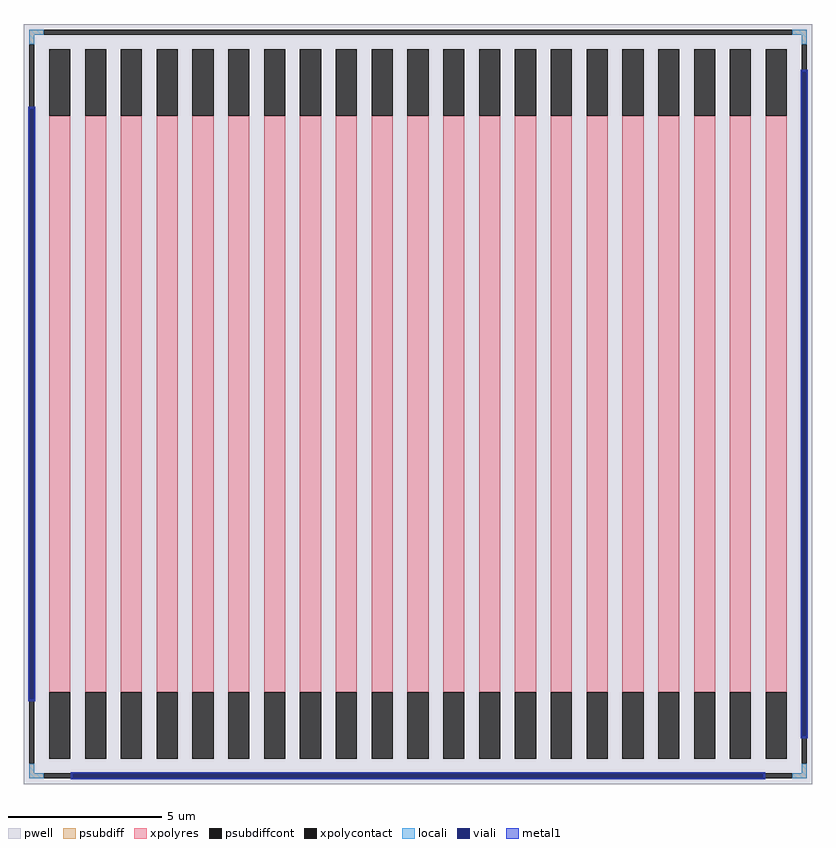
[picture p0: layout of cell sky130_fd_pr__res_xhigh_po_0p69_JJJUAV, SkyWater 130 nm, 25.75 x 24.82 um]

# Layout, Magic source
magic
tech sky130A
magscale 1 2
<< pwell >>
rect -2575 -2482 2575 2482
<< psubdiff >>
rect -2539 2412 -2443 2446
rect 2443 2412 2539 2446
rect -2539 2350 -2505 2412
rect 2505 2350 2539 2412
rect -2539 -2412 -2505 -2350
rect 2505 -2412 2539 -2350
rect -2539 -2446 -2443 -2412
rect 2443 -2446 2539 -2412
<< psubdiffcont >>
rect -2443 2412 2443 2446
rect -2539 -2350 -2505 2350
rect 2505 -2350 2539 2350
rect -2443 -2446 2443 -2412
<< xpolycontact >>
rect -2409 1884 -2271 2316
rect -2409 -2316 -2271 -1884
rect -2175 1884 -2037 2316
rect -2175 -2316 -2037 -1884
rect -1941 1884 -1803 2316
rect -1941 -2316 -1803 -1884
rect -1707 1884 -1569 2316
rect -1707 -2316 -1569 -1884
rect -1473 1884 -1335 2316
rect -1473 -2316 -1335 -1884
rect -1239 1884 -1101 2316
rect -1239 -2316 -1101 -1884
rect -1005 1884 -867 2316
rect -1005 -2316 -867 -1884
rect -771 1884 -633 2316
rect -771 -2316 -633 -1884
rect -537 1884 -399 2316
rect -537 -2316 -399 -1884
rect -303 1884 -165 2316
rect -303 -2316 -165 -1884
rect -69 1884 69 2316
rect -69 -2316 69 -1884
rect 165 1884 303 2316
rect 165 -2316 303 -1884
rect 399 1884 537 2316
rect 399 -2316 537 -1884
rect 633 1884 771 2316
rect 633 -2316 771 -1884
rect 867 1884 1005 2316
rect 867 -2316 1005 -1884
rect 1101 1884 1239 2316
rect 1101 -2316 1239 -1884
rect 1335 1884 1473 2316
rect 1335 -2316 1473 -1884
rect 1569 1884 1707 2316
rect 1569 -2316 1707 -1884
rect 1803 1884 1941 2316
rect 1803 -2316 1941 -1884
rect 2037 1884 2175 2316
rect 2037 -2316 2175 -1884
rect 2271 1884 2409 2316
rect 2271 -2316 2409 -1884
<< xpolyres >>
rect -2409 -1884 -2271 1884
rect -2175 -1884 -2037 1884
rect -1941 -1884 -1803 1884
rect -1707 -1884 -1569 1884
rect -1473 -1884 -1335 1884
rect -1239 -1884 -1101 1884
rect -1005 -1884 -867 1884
rect -771 -1884 -633 1884
rect -537 -1884 -399 1884
rect -303 -1884 -165 1884
rect -69 -1884 69 1884
rect 165 -1884 303 1884
rect 399 -1884 537 1884
rect 633 -1884 771 1884
rect 867 -1884 1005 1884
rect 1101 -1884 1239 1884
rect 1335 -1884 1473 1884
rect 1569 -1884 1707 1884
rect 1803 -1884 1941 1884
rect 2037 -1884 2175 1884
rect 2271 -1884 2409 1884
<< locali >>
rect -2539 2412 -2443 2446
rect 2443 2412 2539 2446
rect -2539 2350 -2505 2412
rect 2505 2350 2539 2412
rect -2539 -2412 -2505 -2350
rect 2505 -2412 2539 -2350
rect -2539 -2446 -2443 -2412
rect 2443 -2446 2539 -2412
<< viali >>
rect -2539 -1930 -2505 1930
rect 2505 -2171 2539 2171
rect -2255 -2446 2255 -2412
<< metal1 >>
rect 2499 2171 2545 2183
rect -2545 1930 -2499 1942
rect -2545 -1930 -2539 1930
rect -2505 -1930 -2499 1930
rect -2545 -1942 -2499 -1930
rect 2499 -2171 2505 2171
rect 2539 -2171 2545 2171
rect 2499 -2183 2545 -2171
rect -2267 -2412 2267 -2406
rect -2267 -2446 -2255 -2412
rect 2255 -2446 2267 -2412
rect -2267 -2452 2267 -2446
<< properties >>
string FIXED_BBOX -2522 -2429 2522 2429
string gencell sky130_fd_pr__res_xhigh_po_0p69
string library sky130
string parameters w 0.690 l 19 m 1 nx 21 wmin 0.690 lmin 0.50 rho 2000 val 55.617k dummy 0 dw 0.0 term 188.2 sterm 0.0 caplen 0 wmax 0.690 guard 1 glc 1 grc 1 gtc 1 gbc 1 compatible {sky130_fd_pr__res_xhigh_po_0p35  sky130_fd_pr__res_xhigh_po_0p69 sky130_fd_pr__res_xhigh_po_1p41  sky130_fd_pr__res_xhigh_po_2p85 sky130_fd_pr__res_xhigh_po_5p73} snake 0 full_metal 1 n_guard 0 hv_guard 0 vias 0 viagb 90 viagt 0 viagl 80 viagr 90
<< end >>
